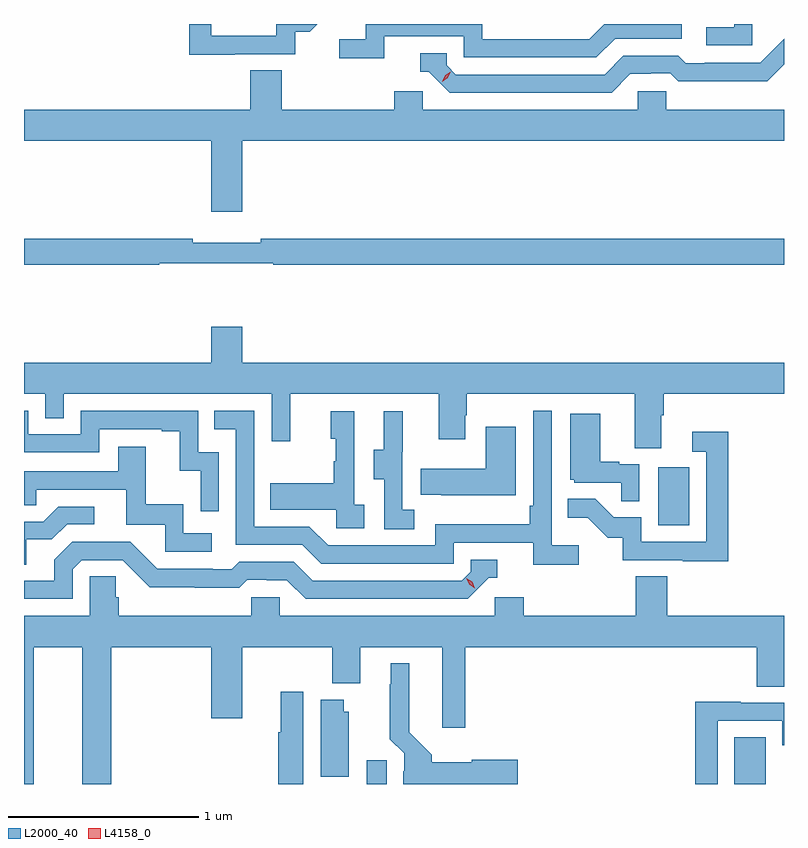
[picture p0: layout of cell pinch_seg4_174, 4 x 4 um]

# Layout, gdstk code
import gdstk
lib = gdstk.Library(unit=1e-6, precision=1e-09)
def R(c, l, rs):  # rectangles x0, y0, x1, y1
    for r in rs: c.add(gdstk.rectangle(r[:2], r[2:], *l))
def P(c, l, *ps):  # polygons
    for p in ps: c.add(gdstk.Polygon(p, *l))
L2000_40 = (2000, 40)
L4158_0 = (4158, 0)

pinch_seg4_174 = lib.new_cell('pinch_seg4_174')
R(pinch_seg4_174, L2000_40, [(1112.879,796.099,1112.983,796.225), (1114.814,796.099,1114.978,796.345), (1114.412,797.46,1114.576,797.767)])
P(pinch_seg4_174, L2000_40, [(1112.972,800.034),(1113.39,800.034),(1113.39,799.923),(1114.087,799.923),(1114.186,800.022),(1114.536,800.022),(1114.536,800.099),(1114.13,800.099),(1114.05,800.019),(1113.486,800.019),(1113.486,800.099),(1112.874,800.099),(1112.874,800.02),(1112.733,800.02),(1112.733,799.918),(1112.972,799.918)],
  [(1114.908,800.099),(1114.812,800.099),(1114.812,800.082),(1114.665,800.082),(1114.665,799.986),(1114.908,799.986)],
  [(1112.183,799.941),(1112.502,799.941),(1112.502,800.058),(1112.578,800.058),(1112.619,800.099),(1112.403,800.099),(1112.403,800.037),(1112.061,800.037),(1112.061,800.099),(1111.945,800.099),(1111.945,799.936),(1112.183,799.936)],
  [(1114.267,799.836),(1114.374,799.836),(1114.374,799.839),(1114.477,799.839),(1114.519,799.797),(1114.752,799.797),(1114.752,799.799),(1114.988,799.799),(1115.075,799.886),(1115.075,800.021),(1114.95,799.896),(1114.657,799.896),(1114.657,799.893),(1114.558,799.893),(1114.519,799.932),(1114.23,799.932),(1114.131,799.833),(1113.348,799.833),(1113.3,799.881),(1113.3,799.944),(1113.161,799.944),(1113.161,799.848),(1113.204,799.848),(1113.315,799.737),(1114.168,799.737)],
  [(1112.224,799.484),(1115.075,799.484),(1115.075,799.648),(1114.455,799.648),(1114.455,799.746),(1114.305,799.746),(1114.305,799.648),(1113.174,799.648),(1113.174,799.746),(1113.023,799.746),(1113.023,799.648),(1112.432,799.648),(1112.432,799.856),(1112.267,799.856),(1112.267,799.648),(1111.075,799.648),(1111.075,799.484),(1112.06,799.484),(1112.06,799.11),(1112.224,799.11)],
  [(1111.786,798.84),(1112.386,798.84),(1112.386,798.832),(1115.075,798.832),(1115.075,798.968),(1112.32,798.968),(1112.32,798.949),(1111.964,798.949),(1111.964,798.968),(1111.075,798.968),(1111.075,798.832),(1111.786,798.832)],
  [(1114.429,798.04),(1114.442,798.04),(1114.442,798.152),(1115.075,798.152),(1115.075,798.316),(1112.224,798.316),(1112.224,798.505),(1112.06,798.505),(1112.06,798.316),(1111.075,798.316),(1111.075,798.152),(1111.188,798.152),(1111.188,798.025),(1111.284,798.025),(1111.284,798.152),(1112.379,798.152),(1112.379,797.904),(1112.477,797.904),(1112.477,798.152),(1113.257,798.152),(1113.257,797.913),(1113.397,797.913),(1113.397,798.041),(1113.405,798.041),(1113.405,798.152),(1114.289,798.152),(1114.289,797.866),(1114.429,797.866)],
  [(1113.994,797.356),(1113.852,797.356),(1113.852,798.064),(1113.756,798.064),(1113.756,797.563),(1113.736,797.563),(1113.736,797.467),(1113.24,797.467),(1113.24,797.355),(1112.676,797.355),(1112.577,797.454),(1112.286,797.454),(1112.286,798.063),(1112.077,798.063),(1112.077,797.967),(1112.19,797.967),(1112.19,797.358),(1112.54,797.358),(1112.639,797.259),(1113.336,797.259),(1113.336,797.37),(1113.755,797.37),(1113.755,797.254),(1113.994,797.254)],
  [(1112.1,797.844),(1111.992,797.844),(1111.992,798.063),(1111.374,798.063),(1111.374,797.94),(1111.098,797.94),(1111.098,798.063),(1111.075,798.063),(1111.075,797.844),(1111.47,797.844),(1111.47,797.967),(1111.799,797.967),(1111.799,797.955),(1111.895,797.955),(1111.895,797.747),(1112.004,797.747),(1112.004,797.535),(1112.1,797.535)],
  [(1113.13,797.543),(1113.066,797.543),(1113.066,797.847),(1113.068,797.847),(1113.068,798.061),(1112.969,798.061),(1112.969,797.859),(1112.915,797.859),(1112.915,797.704),(1112.97,797.704),(1112.97,797.44),(1113.13,797.44)],
  [(1112.866,797.57),(1112.814,797.57),(1112.814,798.061),(1112.69,798.061),(1112.69,797.916),(1112.716,797.916),(1112.716,797.798),(1112.706,797.798),(1112.706,797.683),(1112.371,797.683),(1112.371,797.543),(1112.718,797.543),(1112.718,797.445),(1112.866,797.445)],
  [(1114.314,797.781),(1114.208,797.781),(1114.208,797.794),(1114.108,797.794),(1114.108,798.049),(1113.95,798.049),(1113.95,797.7),(1113.972,797.7),(1113.972,797.685),(1114.219,797.685),(1114.219,797.587),(1114.314,797.587)],
  [(1113.664,797.98),(1113.506,797.98),(1113.506,797.758),(1113.163,797.758),(1113.163,797.621),(1113.271,797.621),(1113.271,797.618),(1113.664,797.618)],
  [(1114.781,797.953),(1114.593,797.953),(1114.593,797.847),(1114.665,797.847),(1114.665,797.373),(1114.323,797.373),(1114.323,797.502),(1114.179,797.502),(1114.081,797.6),(1113.937,797.6),(1113.937,797.501),(1114.041,797.501),(1114.148,797.394),(1114.225,797.394),(1114.225,797.277),(1114.543,797.277),(1114.543,797.272),(1114.781,797.272)],
  [(1112.062,797.418),(1111.914,797.418),(1111.914,797.572),(1111.715,797.572),(1111.715,797.875),(1111.571,797.875),(1111.571,797.745),(1111.075,797.745),(1111.075,797.565),(1111.139,797.565),(1111.139,797.649),(1111.613,797.649),(1111.613,797.463),(1111.818,797.463),(1111.818,797.322),(1112.062,797.322)],
  [(1111.087,797.386),(1111.222,797.386),(1111.302,797.466),(1111.444,797.466),(1111.444,797.559),(1111.256,797.559),(1111.175,797.478),(1111.075,797.478),(1111.075,797.254),(1111.087,797.254)],
  [(1111.332,797.229),(1111.38,797.277),(1111.596,797.277),(1111.738,797.135),(1111.974,797.135),(1111.974,797.133),(1112.207,797.133),(1112.249,797.175),(1112.352,797.175),(1112.352,797.172),(1112.459,797.172),(1112.558,797.073),(1113.411,797.073),(1113.522,797.184),(1113.565,797.184),(1113.565,797.28),(1113.426,797.28),(1113.426,797.217),(1113.378,797.169),(1112.595,797.169),(1112.496,797.268),(1112.207,797.268),(1112.168,797.229),(1112.069,797.229),(1112.069,797.232),(1111.776,797.232),(1111.635,797.373),(1111.329,797.373),(1111.235,797.279),(1111.235,797.169),(1111.075,797.169),(1111.075,797.073),(1111.332,797.073)],
  [(1111.126,796.82),(1111.382,796.82),(1111.382,796.099),(1111.535,796.099),(1111.535,796.82),(1112.06,796.82),(1112.06,796.446),(1112.224,796.446),(1112.224,796.82),(1112.698,796.82),(1112.698,796.628),(1112.845,796.628),(1112.845,796.82),(1113.275,796.82),(1113.275,796.395),(1113.398,796.395),(1113.398,796.82),(1114.931,796.82),(1114.931,796.612),(1115.075,796.612),(1115.075,796.984),(1114.46,796.984),(1114.46,797.192),(1114.295,797.192),(1114.295,796.984),(1113.704,796.984),(1113.704,797.082),(1113.552,797.082),(1113.552,796.984),(1112.421,796.984),(1112.421,797.082),(1112.271,797.082),(1112.271,796.984),(1111.574,796.984),(1111.574,797.082),(1111.559,797.082),(1111.559,797.192),(1111.422,797.192),(1111.422,796.984),(1111.075,796.984),(1111.075,796.099),(1111.126,796.099)],
  [(1113.673,796.226),(1113.432,796.226),(1113.432,796.213),(1113.221,796.213),(1113.221,796.254),(1113.103,796.372),(1113.103,796.735),(1113.005,796.735),(1113.005,796.625),(1113.001,796.625),(1113.001,796.334),(1113.075,796.26),(1113.075,796.166),(1113.071,796.166),(1113.071,796.099),(1113.673,796.099)],
  [(1112.545,796.585),(1112.426,796.585),(1112.426,796.372),(1112.414,796.372),(1112.414,796.099),(1112.545,796.099)],
  [(1112.785,796.479),(1112.758,796.479),(1112.758,796.543),(1112.636,796.543),(1112.636,796.138),(1112.785,796.138)],
  [(1114.725,796.431),(1115.067,796.431),(1115.067,796.302),(1115.075,796.302),(1115.075,796.527),(1114.847,796.527),(1114.847,796.532),(1114.609,796.532),(1114.609,796.099),(1114.725,796.099)])
P(pinch_seg4_174, L4158_0, [(1113.448,797.13),(1113.418,797.15),(1113.402,797.183),(1113.402,797.183),(1113.402,797.183),(1113.433,797.163),(1113.448,797.13),(1113.448,797.13)],
  [(1113.276,799.796),(1113.276,799.797),(1113.291,799.829),(1113.322,799.848),(1113.322,799.848),(1113.322,799.848),(1113.306,799.816),(1113.276,799.796)])

lib.write_gds('pinch_seg4_174.gds')
